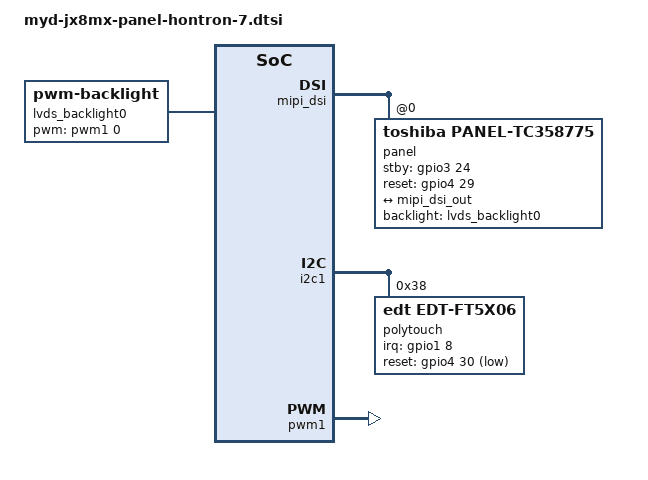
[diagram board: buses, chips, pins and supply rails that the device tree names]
/{
	lvds_backlight0: lvds_backlight@0 {
		compatible = "pwm-backlight";
		pwms = <&pwm1 0 5000000 >;

		brightness-levels = < 0  1  2  3  4  5  6  7  8  9
				     10 11 12 13 14 15 16 17 18 19
				     20 21 22 23 24 25 26 27 28 29
				     30 31 32 33 34 35 36 37 38 39
				     40 41 42 43 44 45 46 47 48 49
				     50 51 52 53 54 55 56 57 58 59
				     60 61 62 63 64 65 66 67 68 69
				     70 71 72 73 74 75 76 77 78 79
				     80 81 82 83 84 85 86 87 88 89
				     90 91 92 93 94 95 96 97 98 99
				    100>;
		default-brightness-level = <80>;
	};
};


&lcdif{

	max-memory-bandwidth = <245760000>; /* 1280x800-32@60 */
};
&mipi_dsi{
	panel@0 {
		compatible = "toshiba,panel-tc358775";
		reg = <0>;
		pinctrl-0 = <&pinctrl_mipi_dsi_en>;
		stby-gpio = <&gpio3 24 GPIO_ACTIVE_HIGH>;
		reset-gpio = <&gpio4 29 GPIO_ACTIVE_HIGH>;
		dsi-lanes = <4>;
		video-mode = <0>;
		panel-width-mm = <154>;
		panel-height-mm = <85>;
		
		toshiba,debug = <0>;
		toshiba,ppi_tx_rx_ta =         <0x00020005>;
		toshiba,ppi_lptxtimecnt =      <0x00000002>;
		toshiba,ppi_d0s_clrsipocount = <0x00000002>;
		toshiba,ppi_d1s_clrsipocount = <0x00000002>;
		toshiba,ppi_d2s_clrsipocount = <0x00000002>;
		toshiba,ppi_d3s_clrsipocount = <0x00000002>;
		toshiba,ppi_laneenable =       <0x0000001f>; 
		toshiba,dsi_laneenable =       <0x0000001f>; 
		toshiba,ppi_sartppi =          <0x00000001>; 
		toshiba,dsi_sartppi =          <0x00000001>;
		
		toshiba,vpctrl =               <0x03F00100>; 
		toshiba,htim1 =                <0x009C0008>;
		toshiba,htim2 =                <0x009C0400>;
		toshiba,vtim1 =                <0x00100006>;
		toshiba,vtim2 =                <0x00100258>;
		toshiba,vfuen =                <0x00000001>;
		toshiba,lvphy0 =               <0x0044802d>;
		toshiba,lvphy0_1 =             <0x0004802d>;
		toshiba,sysrst =               <0x00000004>; 

		
		toshiba,lvmx0003 =             <0x03020100>;
		toshiba,lvmx0407 = 						 <0x08050704>;
		toshiba,lvmx0811 = 						 <0x0f0e0a09>;
		toshiba,lvmx1215 = 						 <0x100d0c0b>;
		toshiba,lvmx1619 = 						 <0x12111716>;
		toshiba,lvmx2023 = 						 <0x1b151413>;
		toshiba,lvmx2427 = 						 <0x061a1918>;
		
		toshiba,lvcfg =                <0x00000031>;
		
		backlight = <&lvds_backlight0>;
		client-device  = <&tc358775>;
		
		display-timings {
				native-mode = <&timing0>;
				timing0:timing0{
					clock-frequency = <51450000>;
					hactive = <1024>;
					hsync-len = <8>;
					hback-porch = <156>;
					hfront-porch = <156>; 
					vactive = <599>;
					vsync-len = <6>;
					vback-porch = <16>;
					vfront-porch = <16>;
					
					vsync-active = <0>;
					hsync-active =<0>;
					de-active =<0>;
					pixelclk-active =<0>;
				};
		};
		port {
			panel1_in: endpoint {
				remote-endpoint = <&mipi_dsi_out>;
			};
		};
	};

};
&iomuxc {
	
	pinctrl_pwm1: lvds0pwm1grp {
		fsl,pins = <
			MX8MQ_IOMUXC_GPIO1_IO01_PWM1_OUT 0x19
		>;
	};
	
  pinctrl_edt_ft5x06: edt-ft5x06grp {
		fsl,pins = <
			MX8MQ_IOMUXC_GPIO1_IO08_GPIO1_IO8      0x19
			MX8MQ_IOMUXC_SAI3_RXD_GPIO4_IO30      0x19
		>;
  };


};


&i2c1 {
	polytouch: edt-ft5x06@38 {
		compatible = "edt,edt-ft5x06";
		reg = <0x38>;
		pinctrl-names = "default";
		pinctrl-0 = <&pinctrl_edt_ft5x06>;
		
		interrupt-parent = <&gpio1>;
		interrupts = <8  IRQ_TYPE_EDGE_FALLING>;
		

		irq-gpios = <&gpio1 8 GPIO_ACTIVE_HIGH>;	
		reset-gpios = <&gpio4 30 GPIO_ACTIVE_LOW>;
		linux,wakeup;
		
		touchscreen-size-x= <1024>;
		touchscreen-size-y= <600>;
	};

};

&pwm1 {
	pinctrl-names = "default";
	pinctrl-0 = <&pinctrl_pwm1>;
	status = "okay";
};
